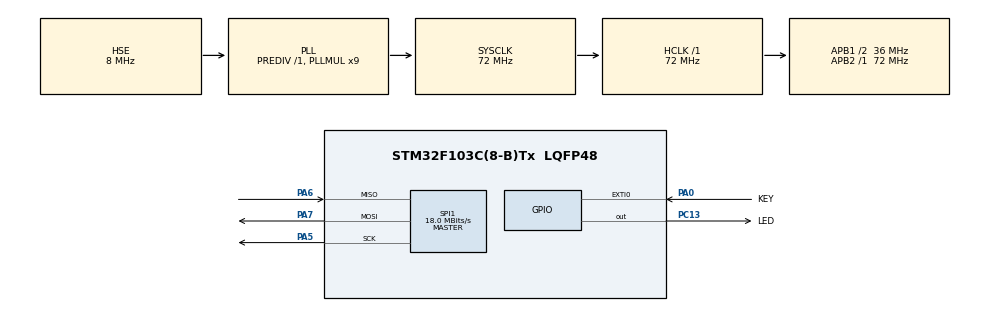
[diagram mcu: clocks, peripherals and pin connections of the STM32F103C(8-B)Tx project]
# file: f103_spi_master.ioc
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Mcu.Family=STM32F1
Mcu.Name=STM32F103C(8-B)Tx
Mcu.Package=LQFP48
NVIC.EXTI0_IRQn=true\:0\:0\:false\:false\:true\:true\:true\:true
NVIC.PriorityGroup=NVIC_PRIORITYGROUP_4
NVIC.SPI1_IRQn=true\:0\:0\:false\:false\:true\:true\:true\:true
PA0-WKUP.GPIO_Label=KEY
PA0-WKUP.Signal=GPXTI0
PA13.Mode=Serial_Wire
PA13.Signal=SYS_JTMS-SWDIO
PA14.Mode=Serial_Wire
PA14.Signal=SYS_JTCK-SWCLK
PA5.Mode=Full_Duplex_Master
PA5.Signal=SPI1_SCK
PA6.Mode=Full_Duplex_Master
PA6.Signal=SPI1_MISO
PA7.Mode=Full_Duplex_Master
PA7.Signal=SPI1_MOSI
PC13-TAMPER-RTC.GPIO_Label=LED
PC13-TAMPER-RTC.Signal=GPIO_Output
PD0-OSC_IN.Mode=HSE-External-Oscillator
PD0-OSC_IN.Signal=RCC_OSC_IN
PD1-OSC_OUT.Mode=HSE-External-Oscillator
PD1-OSC_OUT.Signal=RCC_OSC_OUT
ProjectManager.HeapSize=0x200
ProjectManager.StackSize=0x400
ProjectManager.TargetToolchain=STM32CubeIDE
RCC.AHBFreq_Value=72000000
RCC.APB1CLKDivider=RCC_HCLK_DIV2
RCC.APB1Freq_Value=36000000
RCC.APB1TimFreq_Value=72000000
RCC.APB2Freq_Value=72000000
RCC.APB2TimFreq_Value=72000000
RCC.HCLKFreq_Value=72000000
RCC.PLLMUL=RCC_PLL_MUL9
RCC.PLLSourceVirtual=RCC_PLLSOURCE_HSE
RCC.SYSCLKFreq_VALUE=72000000
RCC.SYSCLKSource=RCC_SYSCLKSOURCE_PLLCLK
RCC.USBFreq_Value=72000000
SPI1.BaudRatePrescaler=SPI_BAUDRATEPRESCALER_4
SPI1.CalculateBaudRate=18.0 MBits/s
SPI1.DataSize=SPI_DATASIZE_8BIT
SPI1.Direction=SPI_DIRECTION_2LINES
SPI1.Mode=SPI_MODE_MASTER
SPI1.VirtualType=VM_MASTER
board=custom

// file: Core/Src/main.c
/* USER CODE BEGIN Header */
/**
 ******************************************************************************
 * @file           : main.c
 * @brief          : Main program body
 ******************************************************************************
 * @attention
 *
 * Copyright (c) 2024 STMicroelectronics.
 * All rights reserved.
 *
 * This software is licensed under terms that can be found in the LICENSE file
 * in the root directory of this software component.
 * If no LICENSE file comes with this software, it is provided AS-IS.
 *
 ******************************************************************************
 */
/* USER CODE END Header */
#include "main.h"

/* USER CODE BEGIN Includes */
#include "string.h"
/* USER CODE END Includes */

SPI_HandleTypeDef hspi1;

/* USER CODE BEGIN PV */
uint8_t count=0;
volatile uint8_t dataSent = 0;

/* USER CODE END PV */

void SystemClock_Config(void);
static void MX_GPIO_Init(void);
static void MX_SPI1_Init(void);

/* USER CODE BEGIN 0 */
//uint8_t txData[16] = "Hello STM32C011!";
uint32_t txData1[10] = {0x30, 0x31, 0x32, 0x33, 0x34,0x35,0x36}; // 0 1 2 3 4 at ascii
char *txData2 = "ABC";
int txNum = 123;
float txVal = 123.456;

uint32_t rxData[20];
char string[10];
float RxVal;

void HAL_SPI_TxRxCpltCallback(SPI_HandleTypeDef *hspi)
{
    if (hspi == &hspi1)
    {
        dataSent = 1;  // Indicate that data has been sent and received
    }
}
void HAL_SPI_RxCpltCallback(SPI_HandleTypeDef *hspi)
{
	 if (hspi == &hspi1)
	{
	    dataSent = 1;  // Indicate that data has been received
	}
}

void HAL_GPIO_EXTI_Callback(uint16_t GPIO_Pin)
{
    if (GPIO_Pin == KEY_Pin)
    {
        count = (count + 1) % 4;
        dataSent = 0;  // Reset dataSent flag to allow new data transmission
       // HAL_Delay(200); // ป้องกันการกดปุ่มซ้ำ

    }
}

/* USER CODE END 0 */

int main(void)
{

	/* MCU Configuration--------------------------------------------------------*/

	/* Reset of all peripherals, Initializes the Flash interface and the Systick. */
	HAL_Init();

	/* Configure the system clock */
	SystemClock_Config();

	/* Initialize all configured peripherals */
	MX_GPIO_Init();
	MX_SPI1_Init();
	/* USER CODE BEGIN 2 */
	//HAL_SPI_Receive_IT(&hspi1, (uint8_t*)rxData, sizeof(rxData));

	/* USER CODE END 2 */

	/* Infinite loop */
	/* USER CODE BEGIN WHILE */
	while (1)
	{
		switch (count)
		{
		case 0:
			if (HAL_SPI_GetState(&hspi1) == HAL_SPI_STATE_READY)
			{
				HAL_SPI_TransmitReceive_IT(&hspi1, (uint8_t *)txData1, (uint8_t *)rxData, sizeof(rxData));
				//HAL_SPI_Transmit_IT(&hspi1,(uint8_t *) txData1, sizeof(txData1));
			}
			break;
			/*
	          case 1:
	              if (HAL_SPI_GetState(&hspi1) == HAL_SPI_STATE_READY)
	              {
	                 // HAL_SPI_TransmitReceive_IT(&hspi1, (uint8_t *)&txVal, (uint8_t *)rxData, sizeof(txVal));
	              }
	              break;
	          case 2:
	              if (HAL_SPI_GetState(&hspi1) == HAL_SPI_STATE_READY)
	              {
	                  //HAL_SPI_TransmitReceive_IT(&hspi1, (uint8_t *)&txNum, (uint8_t *)rxData, sizeof(txNum));
	              }
	              break;*/
		default:
			//if (HAL_SPI_GetState(&hspi1) == HAL_SPI_STATE_READY)
			//{
			// HAL_SPI_TransmitReceive_IT(&hspi1, (uint8_t *)txData2, (uint8_t *)rxData, strlen(txData2));
			//}
			break;
		}
//		if (!dataSent)
//		{
//			switch (count)
//			{
//			case 0:
//				//HAL_GPIO_TogglePin(LED_GPIO_Port, LED_Pin);
//				HAL_SPI_TransmitReceive_IT(&hspi1, (uint8_t *)txData1, (uint8_t *)rxData, sizeof(txData1));
//				//HAL_Delay(200);
//				break;
//			case 1:
//				//HAL_GPIO_WritePin(LED_GPIO_Port, LED_Pin, GPIO_PIN_RESET);
//				//HAL_SPI_TransmitReceive_IT(&hspi1, (uint8_t *)&txVal, (uint8_t *)rxData, sizeof(txVal));
//				break;
//			case 2:
//				//HAL_GPIO_WritePin(LED_GPIO_Port, LED_Pin, GPIO_PIN_SET);
//				//HAL_SPI_TransmitReceive_IT(&hspi1, (uint8_t *)&txNum, (uint8_t *)rxData, sizeof(txNum));
//				break;
//			default:
//				//HAL_GPIO_TogglePin(LED_GPIO_Port, LED_Pin);
//				//HAL_Delay(1000);
//				//HAL_SPI_TransmitReceive_IT(&hspi1, (uint8_t *)txData2, (uint8_t *)rxData, strlen(txData2));
//				break;
//			}
//		}
	}
}

void SystemClock_Config(void)
{
	RCC_OscInitTypeDef RCC_OscInitStruct = {0};
	RCC_ClkInitTypeDef RCC_ClkInitStruct = {0};

	/** Initializes the RCC Oscillators according to the specified parameters
	 * in the RCC_OscInitTypeDef structure.
	 */
	RCC_OscInitStruct.OscillatorType = RCC_OSCILLATORTYPE_HSE;
	RCC_OscInitStruct.HSEState = RCC_HSE_ON;
	RCC_OscInitStruct.HSEPredivValue = RCC_HSE_PREDIV_DIV1;
	RCC_OscInitStruct.HSIState = RCC_HSI_ON;
	RCC_OscInitStruct.PLL.PLLState = RCC_PLL_ON;
	RCC_OscInitStruct.PLL.PLLSource = RCC_PLLSOURCE_HSE;
	RCC_OscInitStruct.PLL.PLLMUL = RCC_PLL_MUL9;
	if (HAL_RCC_OscConfig(&RCC_OscInitStruct) != HAL_OK)
	{
		Error_Handler();
	}

	/** Initializes the CPU, AHB and APB buses clocks
	 */
	RCC_ClkInitStruct.ClockType = RCC_CLOCKTYPE_HCLK|RCC_CLOCKTYPE_SYSCLK
			|RCC_CLOCKTYPE_PCLK1|RCC_CLOCKTYPE_PCLK2;
	RCC_ClkInitStruct.SYSCLKSource = RCC_SYSCLKSOURCE_PLLCLK;
	RCC_ClkInitStruct.AHBCLKDivider = RCC_SYSCLK_DIV1;
	RCC_ClkInitStruct.APB1CLKDivider = RCC_HCLK_DIV2;
	RCC_ClkInitStruct.APB2CLKDivider = RCC_HCLK_DIV1;

	if (HAL_RCC_ClockConfig(&RCC_ClkInitStruct, FLASH_LATENCY_2) != HAL_OK)
	{
		Error_Handler();
	}
}

static void MX_SPI1_Init(void)
{

	/* SPI1 parameter configuration*/
	hspi1.Instance = SPI1;
	hspi1.Init.Mode = SPI_MODE_MASTER;
	hspi1.Init.Direction = SPI_DIRECTION_2LINES;
	hspi1.Init.DataSize = SPI_DATASIZE_8BIT;
	hspi1.Init.CLKPolarity = SPI_POLARITY_LOW;
	hspi1.Init.CLKPhase = SPI_PHASE_1EDGE;
	hspi1.Init.NSS = SPI_NSS_SOFT;
	hspi1.Init.BaudRatePrescaler = SPI_BAUDRATEPRESCALER_4;
	hspi1.Init.FirstBit = SPI_FIRSTBIT_MSB;
	hspi1.Init.TIMode = SPI_TIMODE_DISABLE;
	hspi1.Init.CRCCalculation = SPI_CRCCALCULATION_DISABLE;
	hspi1.Init.CRCPolynomial = 10;
	if (HAL_SPI_Init(&hspi1) != HAL_OK)
	{
		Error_Handler();
	}

}

static void MX_GPIO_Init(void)
{
	GPIO_InitTypeDef GPIO_InitStruct = {0};

	/* GPIO Ports Clock Enable */
	__HAL_RCC_GPIOC_CLK_ENABLE();
	__HAL_RCC_GPIOD_CLK_ENABLE();
	__HAL_RCC_GPIOA_CLK_ENABLE();

	/*Configure GPIO pin Output Level */
	HAL_GPIO_WritePin(LED_GPIO_Port, LED_Pin, GPIO_PIN_RESET);

	/*Configure GPIO pin : LED_Pin */
	GPIO_InitStruct.Pin = LED_Pin;
	GPIO_InitStruct.Mode = GPIO_MODE_OUTPUT_PP;
	GPIO_InitStruct.Pull = GPIO_NOPULL;
	GPIO_InitStruct.Speed = GPIO_SPEED_FREQ_LOW;
	HAL_GPIO_Init(LED_GPIO_Port, &GPIO_InitStruct);

	/*Configure GPIO pin : KEY_Pin */
	GPIO_InitStruct.Pin = KEY_Pin;
	GPIO_InitStruct.Mode = GPIO_MODE_IT_RISING;
	GPIO_InitStruct.Pull = GPIO_NOPULL;
	HAL_GPIO_Init(KEY_GPIO_Port, &GPIO_InitStruct);

	/* EXTI interrupt init*/
	HAL_NVIC_SetPriority(EXTI0_IRQn, 0, 0);
	HAL_NVIC_EnableIRQ(EXTI0_IRQn);

}

void Error_Handler(void)
{
	__disable_irq();
	while (1)
	{
	}
}
